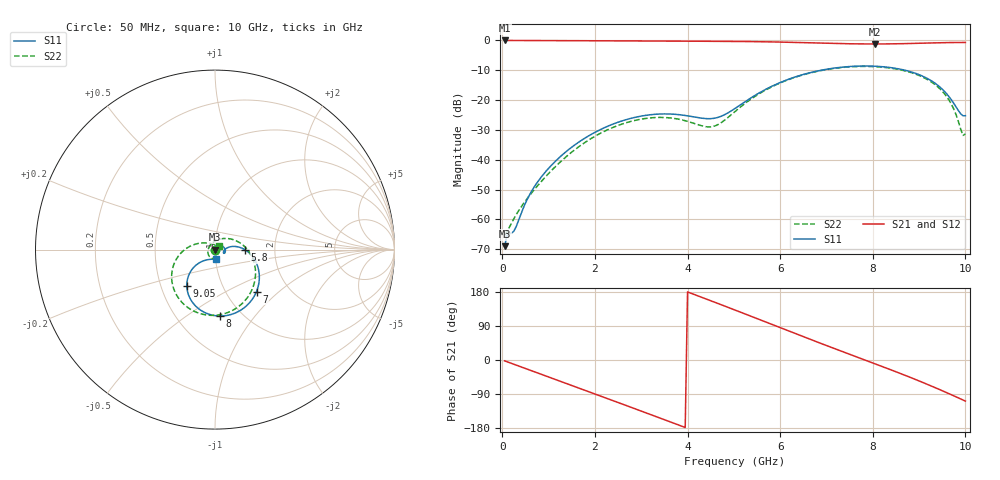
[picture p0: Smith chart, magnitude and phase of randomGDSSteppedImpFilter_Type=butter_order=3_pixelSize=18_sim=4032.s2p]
! freq	dB(S11)	phase(S11)	dB(S12)	phase(S12)
!  dB(S21)	phase(S21)	dB(S22)	phase(S22)
!S-par simulation data
#  GHz  S  DB  R 50
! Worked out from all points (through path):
!   200 points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, 50 MHz to 10 GHz, reference 50 ohm
!   highest |S21| = 0.00 dB at 50 MHz (marker M1); lowest = -1.2 dB at 8.05 GHz (marker M2)
!   group delay of S21, straight-line fit = 129 ps
!   lowest |S11| = -69.0 dB at 50 MHz (marker M3), VSWR 1.00, Z = 50 - j0.0325 ohm
!   |S11| at or under -10 dB: start of sweep to 6.881 GHz; 8.699 GHz to end of sweep
!   |S22| runs from -65.4 to -8.7 dB; largest |S21 - S12| = 0
!   S11 on the Smith chart (normalised r, x): 50 MHz: 1.00, -0.00; 5.8 GHz: 1.40, -0.00; 7 GHz: 1.38, -0.72; 8 GHz: 0.79, -0.68; 9.05 GHz: 0.68, -0.30; 10 GHz: 1.00, -0.11
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0.05  -68.99 -65.9  -0.00 -2.3  -0.00 -2.3  -65.36 -20.5
0.1  -65.54 -65.3  -0.01 -4.5  -0.01 -4.5  -64.18 -31.4
0.25  -63.95 -106.3  -0.02 -11.3  -0.02 -11.3  -59.78 -49.0
0.55  -52.93 179.4  -0.03 -24.7  -0.03 -24.7  -52.75 -51.1
0.8  -46.65 151.3  -0.04 -35.8  -0.04 -35.8  -48.04 -46.2
1.75  -33.08 75.5  -0.09 -78.4  -0.09 -78.4  -34.57 -48.6
2.55  -27.16 28.7  -0.14 -114.4  -0.14 -114.4  -28.22 -73.0
3.4  -24.67 -8.7  -0.20 -152.9  -0.20 -152.9  -25.81 -111.7
3.95  -25.15 -22.1  -0.24 -178.1  -0.24 -178.1  -26.91 -148.2
4.5  -26.22 -12.4  -0.28 156.5  -0.28 156.5  -28.98 142.6
5.05  -22.54 9.4  -0.33 130.7  -0.33 130.7  -23.50 62.5
5.8  -15.52 -0.3  -0.48 95.0  -0.48 95.0  -15.69 6.6
6.7  -10.60 -33.2  -0.81 52.2  -0.81 52.2  -10.70 -42.2
7  -9.66 -45.3  -0.94 38.1  -0.94 38.1  -9.77 -57.1
8  -8.61 -86.0  -1.18 -7.8  -1.18 -7.8  -8.75 -105.3
8.05  -8.64 -88.0  -1.18 -10.1  -1.18 -10.1  -8.79 -107.7
8.35  -9.03 -100.1  -1.15 -24.0  -1.15 -24.0  -9.20 -122.3
9.05  -11.79 -127.6  -0.93 -57.7  -0.93 -57.7  -12.09 -158.8
9.55  -17.11 -140.6  -0.73 -83.7  -0.73 -83.7  -17.92 168.6
9.75  -21.11 -135.3  -0.69 -94.5  -0.69 -94.5  -23.04 147.8
9.95  -25.26 -100.7  -0.68 -105.6  -0.68 -105.6  -31.84 78.1
10  -25.24 -86.7  -0.68 -108.4  -0.68 -108.4  -31.33 41.8
